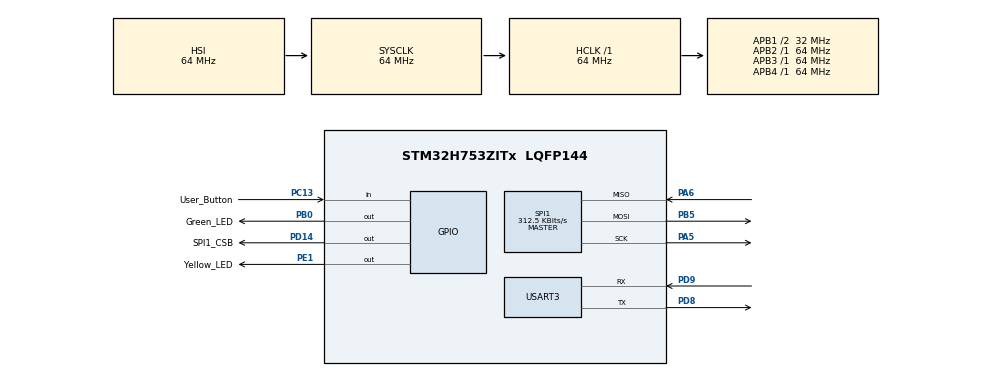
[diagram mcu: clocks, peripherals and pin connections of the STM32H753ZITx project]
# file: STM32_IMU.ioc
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CORTEX_M7.default_mode_Activation=1
Mcu.Family=STM32H7
Mcu.Name=STM32H753ZITx
Mcu.Package=LQFP144
NVIC.PriorityGroup=NVIC_PRIORITYGROUP_4
NVIC.TIM8_UP_TIM13_IRQn=true\:0\:0\:false\:false\:true\:true\:true\:true
PA5.Mode=Full_Duplex_Master
PA5.Signal=SPI1_SCK
PA6.Mode=Full_Duplex_Master
PA6.Signal=SPI1_MISO
PB0.GPIO_Label=Green_LED
PB0.Signal=GPIO_Output
PB5.Mode=Full_Duplex_Master
PB5.Signal=SPI1_MOSI
PC13.GPIO_Label=User_Button
PC13.Signal=GPIO_Input
PD14.GPIO_Label=SPI1_CSB
PD14.Signal=GPIO_Output
PD8.Mode=Asynchronous
PD8.Signal=USART3_TX
PD9.Mode=Asynchronous
PD9.Signal=USART3_RX
PE1.GPIO_Label=Yellow_LED
PE1.Signal=GPIO_Output
ProjectManager.HeapSize=0x200
ProjectManager.StackSize=0x400
ProjectManager.TargetToolchain=STM32CubeIDE
RCC.ADCFreq_Value=129000000
RCC.APB1Freq_Value=32000000
RCC.APB2Freq_Value=64000000
RCC.APB3Freq_Value=64000000
RCC.APB4Freq_Value=64000000
RCC.CortexFreq_Value=64000000
RCC.D2PPRE1=RCC_APB1_DIV2
RCC.DIVM1=4
RCC.DIVN1=10
RCC.HCLKFreq_Value=64000000
RCC.PLLFRACN=0
RCC.SYSCLKFreq_VALUE=64000000
RCC.USBFreq_Value=80000000
SPI1.BaudRatePrescaler=SPI_BAUDRATEPRESCALER_256
SPI1.CalculateBaudRate=312.5 KBits/s
SPI1.DataSize=SPI_DATASIZE_8BIT
SPI1.Direction=SPI_DIRECTION_2LINES
SPI1.Mode=SPI_MODE_MASTER
SPI1.NSSPMode=SPI_NSS_PULSE_DISABLE
SPI1.VirtualType=VM_MASTER
TIM13.Period=64-1
TIM13.Prescaler=6400-1
USART3.VirtualMode-Asynchronous=VM_ASYNC
VP_MEMORYMAP_VS_MEMORYMAP.Mode=CurAppReg
VP_TIM13_VS_ClockSourceINT.Mode=Enable_Timer
board=custom

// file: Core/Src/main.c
/* USER CODE BEGIN Header */
/**
  ******************************************************************************
  * @file           : main.c
  * @brief          : Main program body
  ******************************************************************************
  * @attention
  *h
  * Copyright (c) 2026 STMicroelectronics.
  * All rights reserved.
  *
  * This software is licensed under terms that can be found in the LICENSE file
  * in the root directory of this software component.
  * If no LICENSE file comes with this software, it is provided AS-IS.
  *
  ******************************************************************************
  */f
/* USER CODE END Header */
#include "main.h"

/* USER CODE BEGIN Includes */
#include <string.h>
#include <stdlib.h>
#include <stdio.h>
#include <math.h>
#include <stdbool.h>
#include "bmi3.h"
#include "bmi323.h"
#include "bmi3_defs.h"
#include "bmi323_defs.h"
#include "AccGyrXSim.h"
#include "rtwtypes.h"
#include "MW_target_hardware_resources.h"
/* USER CODE END Includes */

/* USER CODE BEGIN PD */
 float acc_x = 0.0f, acc_y = 0.0f, acc_z = 0.0f;
 float gyr_x = 0.0f, gyr_y = 0.0f, gyr_z = 0.0f;
 float roll = 0.0f, pitch = 0.0f, yaw = 0.0f;
 float ang_x = 0.0f, ang_y = 0.0f, ang_z = 0.0f;
#define _USE_MATH_DEFINES
/* USER CODE END PD */

SPI_HandleTypeDef hspi1;

TIM_HandleTypeDef htim13;

UART_HandleTypeDef huart3;

/* USER CODE BEGIN PV */
typedef struct {
  SPI_HandleTypeDef *hspi;
  GPIO_TypeDef *cs_port;
  uint16_t cs_pin;
} bmi3_stm32_ctx_t;

static bmi3_stm32_ctx_t bmi_ctx;
static struct bmi3_dev dev;
volatile uint8_t tick_100hz = 0;
bool condition = false;
/* USER CODE END PV */

void SystemClock_Config(void);
static void MPU_Config(void);
static void MX_GPIO_Init(void);
static void MX_TIM13_Init(void);
static void MX_USART3_UART_Init(void);
static void MX_SPI1_Init(void);
/* USER CODE BEGIN PFP */
static int8_t bmi3_spi_read(uint8_t reg_addr, uint8_t *data, uint32_t len, void *intf_ptr);
static int8_t bmi3_spi_write(uint8_t reg_addr, const uint8_t *data, uint32_t len, void *intf_ptr);
static int8_t set_accel_gyro_config(struct bmi3_dev *dev);
static float lsb_to_g(int16_t val, float g_range, uint8_t bit_width);
static void bmi3_delay_us(uint32_t period, void *intf_ptr);
/* USER CODE END PFP */

int main(void)
{

  /* MPU Configuration--------------------------------------------------------*/
  MPU_Config();

  /* MCU Configuration--------------------------------------------------------*/

  /* Reset of all peripherals, Initializes the Flash interface and the Systick. */
  HAL_Init();

  /* Configure the system clock */
  SystemClock_Config();

  /* Initialize all configured peripherals */
  MX_GPIO_Init();
  MX_TIM13_Init();
  MX_USART3_UART_Init();
  MX_SPI1_Init();
  AccGyrXSim_initialize();
  /* USER CODE BEGIN 2 */
  HAL_GPIO_WritePin(SPI1_CSB_GPIO_Port, SPI1_CSB_Pin, GPIO_PIN_SET);

  // ------------------------------------------------ ACCEL GYRO TEMP -------------------------------------------------- //

  /* USER CODE END 2 */
  HAL_GPIO_WritePin(SPI1_CSB_GPIO_Port, SPI1_CSB_Pin, GPIO_PIN_SET);
  bmi_ctx.hspi = &hspi1;
  bmi_ctx.cs_port = SPI1_CSB_GPIO_Port;
  bmi_ctx.cs_pin  = SPI1_CSB_Pin;
  memset(&dev, 0, sizeof(dev));
  dev.intf     = BMI3_SPI_INTF;
  dev.intf_ptr = &bmi_ctx;
  dev.read     = bmi3_spi_read;
  dev.write    = bmi3_spi_write;
  dev.delay_us = bmi3_delay_us;
  // ------------------------------------------------ ACCEL GYRO TEMP -------------------------------------------------- //

  /* USER CODE END 2 */
  char msg_agt[256];
  /* Sensor initialization configuration. */

  /* Status of API are returned to this variable. */
  int8_t rsltagt;

  /* Variable to define limit to print accel data. */

  /* Create an instance of sensor data structure. */
  struct bmi3_sensor_data sensor_data[3] = { 0 };

  /* Initialize the interrupt status of accel. */
  uint16_t int_status = 0;

  /* Variable to store temperature */
  float temperature_value;

  /* Select accel and gyro sensor. */
  sensor_data[0].type = BMI323_ACCEL;
  sensor_data[1].type = BMI323_GYRO;
  sensor_data[2].type = BMI323_TEMP;

  // ------------------------------------------------ SELF CALIBRATION -------------------------------------------------- //
  /* Sensor initialization configuration. */

  /* Structure to define the self-calibration result and error result */
  struct bmi3_self_calib_rslt sc_rslt;

  /* Variable to choose apply correction */
  uint8_t apply_corr = BMI3_SC_APPLY_CORR_EN;

  /* Variable to define error. */
  int8_t rsltSC;

  /* Variable to define index. */
  uint8_t idx;

  /* Variable to define limit. */
  uint8_t limit = 3;

  /* Array to define self-calibration modes. */
  uint8_t sc_selection[3] = { BMI3_SC_SENSITIVITY_EN, BMI3_SC_OFFSET_EN, BMI3_SC_SENSITIVITY_EN | BMI3_SC_OFFSET_EN };

  /* Structure instance of gyro dp gain offset */
  struct bmi3_gyr_dp_gain_offset gyr_dp_gain_offset = { 0 };

  // ------------------------------------------------ BEGIN -------------------------------------------------- //
  int8_t rslt = bmi323_init(&dev);
  printf("bmi323_init=%d chip_id=0x%02X\r\n", rslt, dev.chip_id);

	  while (1) {
		  if (HAL_GPIO_ReadPin(User_Button_GPIO_Port, User_Button_Pin) == 0) {
			  HAL_GPIO_WritePin(Yellow_LED_GPIO_Port, Yellow_LED_Pin, GPIO_PIN_SET);
			  HAL_GPIO_WritePin(Green_LED_GPIO_Port, Green_LED_Pin, GPIO_PIN_RESET);
			  condition = false;
		  } else if (HAL_GPIO_ReadPin(User_Button_GPIO_Port, User_Button_Pin) == 1) {
			  condition = true;
			  HAL_GPIO_WritePin(Yellow_LED_GPIO_Port, Yellow_LED_Pin, GPIO_PIN_RESET);
			  HAL_GPIO_WritePin(Green_LED_GPIO_Port, Green_LED_Pin, GPIO_PIN_SET);
			  break;
		  }
		  printf("Error\r\n");

		  //HAL_UART_Transmit(&huart3, (uint8_t*)msg_lagt, lutty, HAL_MAX_DELAY);
		  HAL_Delay(150);
	  }
	  printf("PASS_A\r\n");

  /* Initialize bmi323. */
  rsltagt = bmi323_init(&dev);
  printf("PASS_B\r\n");
  printf("%d\r\n", rsltagt);
  if (rsltagt == BMI323_OK)
  {
      /* Accel and Gyro configuration settings. */
	  rsltagt = set_accel_gyro_config(&dev);
	  printf("PASS_C\r\n");
      if (rsltagt == BMI323_OK)
      {
    	  // BMI SELF CALIBRATION BEGINS
    	      	        for (idx = 0; idx < limit; idx++)
    	      	        {
    	      	            /* Initialize bmi323 */;

    	      	                if (sc_selection[idx] == BMI3_SC_SENSITIVITY_EN)
    	      	                {
    	      	                    printf("\n\nSelf-calibration for sensitivity mode\n");
    	      	                }
    	      	                else if (sc_selection[idx] == BMI3_SC_OFFSET_EN)
    	      	                {
    	      	                    printf("\n\nSelf-calibration for offset mode\n");
    	      	                }
    	      	                else
    	      	                {
    	      	                    printf("\n\nSelf-calibration for sensitivity and offset mode\n");
    	      	                }

    	      	                /* Performs self-calibration for either sensitivity, offset or both */
    	      	                rsltSC = bmi323_perform_gyro_sc(sc_selection[idx], apply_corr, &sc_rslt, &dev);

    	      	                if ((rsltSC == BMI323_OK) && (sc_rslt.gyro_sc_rslt == BMI323_TRUE) &&
    	      	                    ((sc_rslt.sc_error_status & BMI3_SET_LOW_NIBBLE) == BMI3_NO_ERROR_MASK))
    	      	                {
    	      	                    printf("\nSelf calibration is successfully completed \n\n");
    	      	                }

    	      	                if ((rsltSC == BMI323_OK) && (sc_rslt.gyro_sc_rslt == BMI323_FALSE))
    	      	                {
    	      	                    printf("\nSelf calibration is not successfully completed \n\n");

    	      	                    switch (sc_rslt.sc_error_status)
    	      	                    {
    	      	                        case BMI3_SC_ST_ABORTED_MASK:
    	      	                            printf("SC_ST_ABORTED\n\n");
    	      	                            break;
    	      	                        case BMI3_SC_ST_PRECON_ERR_MASK:
    	      	                            printf("BMI323_SC_ST_PRECON_ERR\n\n");
    	      	                            break;
    	      	                        case BMI3_MODE_CHANGE_WHILE_SC_ST_MASK:
    	      	                            printf("BMI323_MODE_CHANGE_WHILE_SC_ST\n\n");
    	      	                            break;
    	      	                        default:
    	      	                            break;
    	      	                    }
    	      	                }

    	      	                rsltSC = bmi323_get_gyro_dp_off_dgain(&gyr_dp_gain_offset, &dev);
    	      	                printf("Result of gyro dp offset x(LSB) is %d\n", gyr_dp_gain_offset.gyr_dp_off_x);
    	      	                printf("Result of gyro dp offset y(LSB) is %d\n", gyr_dp_gain_offset.gyr_dp_off_y);
    	      	                printf("Result of gyro dp offset z(LSB) is %d\n", gyr_dp_gain_offset.gyr_dp_off_z);
    	      	                printf("Result of gyro dp gain x(LSB) is %d\n", gyr_dp_gain_offset.gyr_dp_dgain_x);
    	      	                printf("Result of gyro dp gain y(LSB) is %d\n", gyr_dp_gain_offset.gyr_dp_dgain_y);
    	      	                printf("Result of gyro dp gain z(LSB) is %d\n", gyr_dp_gain_offset.gyr_dp_dgain_z);

    	      	        }

    	      	  // BMI SELF CALIBRATION ENDS
          printf("\nData set, Acc_Raw_X, Acc_Raw_Y, Acc_Raw_Z, Acc_G_X, Acc_G_Y, Acc_G_Z,  Gyr_Raw_X, Gyr_Raw_Y, Gyr_Raw_Z, Gyr_dps_X, Gyr_dps_Y, Gyr_dps_Z, Temperature data (Degree celsius), SensorTime(secs)\r\n");

          while (condition)
              {
                  /* To get the status of accel data ready interrupt. */
            	  rsltagt = bmi323_get_int1_status(&int_status, &dev);
            	  printf("PASS_D\r\n");

                  /* To check the accel data ready interrupt status and print the status for 100 samples. */
                  if ((int_status & BMI3_INT_STATUS_ACC_DRDY) && (int_status & BMI3_INT_STATUS_GYR_DRDY) &&
                      (int_status & BMI3_INT_STATUS_TEMP_DRDY))
                  {
                      /* Get accelerometer data for x, y and z axis. */
                	  rsltagt = bmi323_get_sensor_data(sensor_data, 3, &dev);
                      temperature_value =
                          (float)((((float)((int16_t)sensor_data[2].sens_data.temp.temp_data)) / 512.0) + 23.0);

                        /* Converting lsb to gravity for 16 bit accelerometer at 2G range. */
                        acc_x = lsb_to_g(sensor_data[0].sens_data.acc.x, 4.0f, dev.resolution);
                        acc_y = lsb_to_g(sensor_data[0].sens_data.acc.y, 4.0f, dev.resolution);
                        acc_z = lsb_to_g(sensor_data[0].sens_data.acc.z, 4.0f, dev.resolution);

//                      int putty = snprintf(msg_agt, sizeof(msg_agt),
//                    		  "Ax: %6d, Ay: %6d, Az: %6d, Agx: %8.3f, Agy: %8.3f, Agz: %8.3f, Gx: %8.3d, Gy: %8.3d, Gz: %8.3d, Temp: %6f, Time: %.4lf\r\n",
//                    		                           sensor_data[0].sens_data.acc.x,
//                    		                           sensor_data[0].sens_data.acc.y,
//                    		                           sensor_data[0].sens_data.acc.z,
//													   acc_x, // Real acceleration at 4G range
//													   acc_y, // Real acceleration at 4G range
//													   acc_z, // Real acceleration at 4G range
//													   sensor_data[1].sens_data.gyr.x,
//													   sensor_data[1].sens_data.gyr.y,
//													   sensor_data[1].sens_data.gyr.z,
//                    		                           temperature_value,
//                    		                           (sensor_data[1].sens_data.temp.sens_time * BMI3_SENSORTIME_RESOLUTION));
//
//                      HAL_UART_Transmit(&huart3, (uint8_t*)msg_agt, putty, HAL_MAX_DELAY);

                        	AccGyrXSim_U.AccX = acc_x;
							AccGyrXSim_U.AccY = acc_y;
							AccGyrXSim_U.AccZ = acc_z;

							AccGyrXSim_U.GyrX = sensor_data[1].sens_data.gyr.x;
							AccGyrXSim_U.GyrY = sensor_data[1].sens_data.gyr.y;
							AccGyrXSim_U.GyrZ = sensor_data[1].sens_data.gyr.z;

							AccGyrXSim_step();

							roll = AccGyrXSim_Y.Roll;
							pitch = AccGyrXSim_Y.Pitch;
							yaw = AccGyrXSim_Y.Yaw;

							ang_x = AccGyrXSim_Y.AngX;
							ang_y = AccGyrXSim_Y.AngY;
							ang_z = AccGyrXSim_Y.AngZ;

							printf("Roll: %7.3f, Pitch: %7.3f, Yaw: %7.3f, AngX: %7.3f, AngY: %7.3f, AngZ: %7.3f, Time: %.4lf\r\n",
																		  	  	  	  	  	  	   roll,
																								   pitch,
											                    		                           yaw,
																								   ang_x, // Real acceleration at 4G range
																								   ang_y, // Real acceleration at 4G range
																								   ang_z, // Real acceleration at 4G range
											                    		                           (sensor_data[1].sens_data.temp.sens_time * BMI3_SENSORTIME_RESOLUTION));

		                      int putty = snprintf(msg_agt, sizeof(msg_agt),
		                    		  "Roll: %7.3f, Pitch: %7.3f, Yaw: %7.3f, AngX: %7.3f, AngY: %7.3f, AngZ: %7.3f, Time: %.4lf\r\n",
									  	  	  	  	  	  	   roll,
															   pitch,
		                    		                           yaw,
															   ang_x, // Real acceleration at 4G range
															   ang_y, // Real acceleration at 4G range
															   ang_z, // Real acceleration at 4G range
		                    		                           (sensor_data[1].sens_data.temp.sens_time * BMI3_SENSORTIME_RESOLUTION));

		                      HAL_UART_Transmit(&huart3, (uint8_t*)msg_agt, putty, HAL_MAX_DELAY);
	                  }
	              }
	      }
	  }
}

void SystemClock_Config(void)
{
  RCC_OscInitTypeDef RCC_OscInitStruct = {0};
  RCC_ClkInitTypeDef RCC_ClkInitStruct = {0};

  /** Supply configuration update enable
  */
  HAL_PWREx_ConfigSupply(PWR_LDO_SUPPLY);

  /** Configure the main internal regulator output voltage
  */
  __HAL_PWR_VOLTAGESCALING_CONFIG(PWR_REGULATOR_VOLTAGE_SCALE3);

  while(!__HAL_PWR_GET_FLAG(PWR_FLAG_VOSRDY)) {}

  /** Initializes the RCC Oscillators according to the specified parameters
  * in the RCC_OscInitTypeDef structure.
  */
  RCC_OscInitStruct.OscillatorType = RCC_OSCILLATORTYPE_HSI;
  RCC_OscInitStruct.HSIState = RCC_HSI_DIV1;
  RCC_OscInitStruct.HSICalibrationValue = RCC_HSICALIBRATION_DEFAULT;
  RCC_OscInitStruct.PLL.PLLState = RCC_PLL_ON;
  RCC_OscInitStruct.PLL.PLLSource = RCC_PLLSOURCE_HSI;
  RCC_OscInitStruct.PLL.PLLM = 4;
  RCC_OscInitStruct.PLL.PLLN = 10;
  RCC_OscInitStruct.PLL.PLLP = 2;
  RCC_OscInitStruct.PLL.PLLQ = 2;
  RCC_OscInitStruct.PLL.PLLR = 2;
  RCC_OscInitStruct.PLL.PLLRGE = RCC_PLL1VCIRANGE_3;
  RCC_OscInitStruct.PLL.PLLVCOSEL = RCC_PLL1VCOMEDIUM;
  RCC_OscInitStruct.PLL.PLLFRACN = 0;
  if (HAL_RCC_OscConfig(&RCC_OscInitStruct) != HAL_OK)
  {
    Error_Handler();
  }

  /** Initializes the CPU, AHB and APB buses clocks
  */
  RCC_ClkInitStruct.ClockType = RCC_CLOCKTYPE_HCLK|RCC_CLOCKTYPE_SYSCLK
                              |RCC_CLOCKTYPE_PCLK1|RCC_CLOCKTYPE_PCLK2
                              |RCC_CLOCKTYPE_D3PCLK1|RCC_CLOCKTYPE_D1PCLK1;
  RCC_ClkInitStruct.SYSCLKSource = RCC_SYSCLKSOURCE_HSI;
  RCC_ClkInitStruct.SYSCLKDivider = RCC_SYSCLK_DIV1;
  RCC_ClkInitStruct.AHBCLKDivider = RCC_HCLK_DIV1;
  RCC_ClkInitStruct.APB3CLKDivider = RCC_APB3_DIV1;
  RCC_ClkInitStruct.APB1CLKDivider = RCC_APB1_DIV2;
  RCC_ClkInitStruct.APB2CLKDivider = RCC_APB2_DIV1;
  RCC_ClkInitStruct.APB4CLKDivider = RCC_APB4_DIV1;

  if (HAL_RCC_ClockConfig(&RCC_ClkInitStruct, FLASH_LATENCY_1) != HAL_OK)
  {
    Error_Handler();
  }
}

static void MX_SPI1_Init(void)
{

  /* SPI1 parameter configuration*/
  hspi1.Instance = SPI1;
  hspi1.Init.Mode = SPI_MODE_MASTER;
  hspi1.Init.Direction = SPI_DIRECTION_2LINES;
  hspi1.Init.DataSize = SPI_DATASIZE_8BIT;
  hspi1.Init.CLKPolarity = SPI_POLARITY_LOW;
  hspi1.Init.CLKPhase = SPI_PHASE_1EDGE;
  hspi1.Init.NSS = SPI_NSS_SOFT;
  hspi1.Init.BaudRatePrescaler = SPI_BAUDRATEPRESCALER_256;
  hspi1.Init.FirstBit = SPI_FIRSTBIT_MSB;
  hspi1.Init.TIMode = SPI_TIMODE_DISABLE;
  hspi1.Init.CRCCalculation = SPI_CRCCALCULATION_DISABLE;
  hspi1.Init.CRCPolynomial = 0x0;
  hspi1.Init.NSSPMode = SPI_NSS_PULSE_DISABLE;
  hspi1.Init.NSSPolarity = SPI_NSS_POLARITY_LOW;
  hspi1.Init.FifoThreshold = SPI_FIFO_THRESHOLD_01DATA;
  hspi1.Init.TxCRCInitializationPattern = SPI_CRC_INITIALIZATION_ALL_ZERO_PATTERN;
  hspi1.Init.RxCRCInitializationPattern = SPI_CRC_INITIALIZATION_ALL_ZERO_PATTERN;
  hspi1.Init.MasterSSIdleness = SPI_MASTER_SS_IDLENESS_00CYCLE;
  hspi1.Init.MasterInterDataIdleness = SPI_MASTER_INTERDATA_IDLENESS_00CYCLE;
  hspi1.Init.MasterReceiverAutoSusp = SPI_MASTER_RX_AUTOSUSP_DISABLE;
  hspi1.Init.MasterKeepIOState = SPI_MASTER_KEEP_IO_STATE_DISABLE;
  hspi1.Init.IOSwap = SPI_IO_SWAP_DISABLE;
  if (HAL_SPI_Init(&hspi1) != HAL_OK)
  {
    Error_Handler();
  }

}

static void MX_TIM13_Init(void)
{

  htim13.Instance = TIM13;
  htim13.Init.Prescaler = 6400-1;
  htim13.Init.CounterMode = TIM_COUNTERMODE_UP;
  htim13.Init.Period = 64-1;
  htim13.Init.ClockDivision = TIM_CLOCKDIVISION_DIV1;
  htim13.Init.AutoReloadPreload = TIM_AUTORELOAD_PRELOAD_DISABLE;
  if (HAL_TIM_Base_Init(&htim13) != HAL_OK)
  {
    Error_Handler();
  }

}

static void MX_USART3_UART_Init(void)
{

  huart3.Instance = USART3;
  huart3.Init.BaudRate = 115200;
  huart3.Init.WordLength = UART_WORDLENGTH_8B;
  huart3.Init.StopBits = UART_STOPBITS_1;
  huart3.Init.Parity = UART_PARITY_NONE;
  huart3.Init.Mode = UART_MODE_TX_RX;
  huart3.Init.HwFlowCtl = UART_HWCONTROL_NONE;
  huart3.Init.OverSampling = UART_OVERSAMPLING_16;
  huart3.Init.OneBitSampling = UART_ONE_BIT_SAMPLE_DISABLE;
  huart3.Init.ClockPrescaler = UART_PRESCALER_DIV1;
  huart3.AdvancedInit.AdvFeatureInit = UART_ADVFEATURE_NO_INIT;
  if (HAL_UART_Init(&huart3) != HAL_OK)
  {
    Error_Handler();
  }
  if (HAL_UARTEx_SetTxFifoThreshold(&huart3, UART_TXFIFO_THRESHOLD_1_8) != HAL_OK)
  {
    Error_Handler();
  }
  if (HAL_UARTEx_SetRxFifoThreshold(&huart3, UART_RXFIFO_THRESHOLD_1_8) != HAL_OK)
  {
    Error_Handler();
  }
  if (HAL_UARTEx_DisableFifoMode(&huart3) != HAL_OK)
  {
    Error_Handler();
  }

}

static void MX_GPIO_Init(void)
{
  GPIO_InitTypeDef GPIO_InitStruct = {0};

  /* GPIO Ports Clock Enable */
  __HAL_RCC_GPIOC_CLK_ENABLE();
  __HAL_RCC_GPIOA_CLK_ENABLE();
  __HAL_RCC_GPIOB_CLK_ENABLE();
  __HAL_RCC_GPIOD_CLK_ENABLE();
  __HAL_RCC_GPIOE_CLK_ENABLE();

  /*Configure GPIO pin Output Level */
  HAL_GPIO_WritePin(Green_LED_GPIO_Port, Green_LED_Pin, GPIO_PIN_RESET);

  /*Configure GPIO pin Output Level */
  HAL_GPIO_WritePin(SPI1_CSB_GPIO_Port, SPI1_CSB_Pin, GPIO_PIN_RESET);

  /*Configure GPIO pin Output Level */
  HAL_GPIO_WritePin(Yellow_LED_GPIO_Port, Yellow_LED_Pin, GPIO_PIN_RESET);

  /*Configure GPIO pin : User_Button_Pin */
  GPIO_InitStruct.Pin = User_Button_Pin;
  GPIO_InitStruct.Mode = GPIO_MODE_INPUT;
  GPIO_InitStruct.Pull = GPIO_NOPULL;
  HAL_GPIO_Init(User_Button_GPIO_Port, &GPIO_InitStruct);

  /*Configure GPIO pin : Green_LED_Pin */
  GPIO_InitStruct.Pin = Green_LED_Pin;
  GPIO_InitStruct.Mode = GPIO_MODE_OUTPUT_PP;
  GPIO_InitStruct.Pull = GPIO_NOPULL;
  GPIO_InitStruct.Speed = GPIO_SPEED_FREQ_LOW;
  HAL_GPIO_Init(Green_LED_GPIO_Port, &GPIO_InitStruct);

  /*Configure GPIO pin : SPI1_CSB_Pin */
  GPIO_InitStruct.Pin = SPI1_CSB_Pin;
  GPIO_InitStruct.Mode = GPIO_MODE_OUTPUT_PP;
  GPIO_InitStruct.Pull = GPIO_NOPULL;
  GPIO_InitStruct.Speed = GPIO_SPEED_FREQ_LOW;
  HAL_GPIO_Init(SPI1_CSB_GPIO_Port, &GPIO_InitStruct);

  /*Configure GPIO pin : Yellow_LED_Pin */
  GPIO_InitStruct.Pin = Yellow_LED_Pin;
  GPIO_InitStruct.Mode = GPIO_MODE_OUTPUT_PP;
  GPIO_InitStruct.Pull = GPIO_NOPULL;
  GPIO_InitStruct.Speed = GPIO_SPEED_FREQ_LOW;
  HAL_GPIO_Init(Yellow_LED_GPIO_Port, &GPIO_InitStruct);

}

/* USER CODE BEGIN 4 */

/*! @brief Converts raw sensor values(LSB) to G value
 *
 *  @param[in] val        : Raw sensor value.
 *  @param[in] g_range    : Accel Range selected (4G).
 *  @param[in] bit_width  : Resolution of the sensor.
 *
 *  @return Accel values in Gravity(G)
 *
 */
static float lsb_to_g(int16_t val, float g_range, uint8_t bit_width)
{
    double power = 2;

    float half_scale = (float)((pow((double)power, (double)bit_width) / 2.0f));

    return (val * g_range * (9.80665f)) / half_scale;
}

static int8_t set_accel_gyro_config(struct bmi3_dev *dev)
{
    /* Status of API are returned to this variable. */
    int8_t rslt;

    /* Structure to define accelerometer configuration. */
    struct bmi3_sens_config config[2];

    /* Structure to map interrupt */
    struct bmi3_map_int map_int = { 0 };

    /* Configure the type of feature. */
    config[0].type = BMI323_ACCEL;
    config[1].type = BMI323_GYRO;

    /* Get default configurations for the type of feature selected. */
    rslt = bmi323_get_sensor_config(config, 2, dev);
    //bmi3_error_codes_print_result("bmi323_get_sensor_config", rslt);

    if (rslt == BMI323_OK)
    {
        map_int.acc_drdy_int = BMI3_INT1;
        map_int.gyr_drdy_int = BMI3_INT1;
        map_int.temp_drdy_int = BMI3_INT1;

        /* Map data ready interrupt to interrupt pin. */
        rslt = bmi323_map_interrupt(map_int, dev);
        //bmi3_error_codes_print_result("bmi323_map_interrupt", rslt);

        if (rslt == BMI323_OK)
        {
            /* NOTE: The user can change the following configuration parameters according to their requirement. */
            /* Output Data Rate. By default ODR is set as 100Hz for accel. */
            config[0].cfg.acc.odr = BMI3_ACC_ODR_100HZ;

            /* Gravity range of the sensor (+/- 2G, 4G, 8G, 16G). */
            config[0].cfg.acc.range = BMI3_ACC_RANGE_4G;

            /* The Accel bandwidth coefficient defines the 3 dB cutoff frequency in relation to the ODR. */
            config[0].cfg.acc.bwp = BMI3_ACC_BW_ODR_HALF;

            /* Set number of average samples for accel. */
            config[0].cfg.acc.avg_num = BMI3_ACC_AVG64;

            /* Enable the accel mode where averaging of samples
             * will be done based on above set bandwidth and ODR.
             * Note : By default accel is disabled. The accel will get enable by selecting the mode.
             */
            config[0].cfg.acc.acc_mode = BMI3_ACC_MODE_NORMAL;

            /* Output Data Rate. By default ODR is set as 100Hz for gyro. */
            config[1].cfg.gyr.odr = BMI3_GYR_ODR_100HZ;

            /* Gyroscope Angular Rate Measurement Range. By default the range is 2000dps. */
            config[1].cfg.gyr.range = BMI3_GYR_RANGE_2000DPS;

            /*  The Gyroscope bandwidth coefficient defines the 3 dB cutoff frequency in relation to the ODR
             *  Value   Name      Description
             *    0   odr_half   BW = gyr_odr/2
             *    1  odr_quarter BW = gyr_odr/4
             */
            config[1].cfg.gyr.bwp = BMI3_GYR_BW_ODR_HALF;

            /* By default the gyro is disabled. Gyro is enabled by selecting the mode. */
            config[1].cfg.gyr.gyr_mode = BMI3_GYR_MODE_NORMAL;

            /* Value    Name    Description
             *  0b000     avg_1   No averaging; pass sample without filtering
             *  0b001     avg_2   Averaging of 2 samples
             *  0b010     avg_4   Averaging of 4 samples
             *  0b011     avg_8   Averaging of 8 samples
             *  0b100     avg_16  Averaging of 16 samples
             *  0b101     avg_32  Averaging of 32 samples
             *  0b110     avg_64  Averaging of 64 samples
             */
            config[1].cfg.gyr.avg_num = BMI3_GYR_AVG64;

            /* Set the accel and gyro configurations. */
            rslt = bmi323_set_sensor_config(config, 2, dev);
            // bmi3_error_codes_print_result("bmi323_set_sensor_config", rslt);
        }
    }

    return rslt;
}

static int8_t bmi3_spi_read(uint8_t reg_addr, uint8_t *data, uint32_t len, void *intf_ptr)
{
    bmi3_stm32_ctx_t *ctx = (bmi3_stm32_ctx_t *)intf_ptr;
    uint8_t addr = reg_addr | 0x80; // BMI3 SPI read mask

    if ((ctx == NULL) || (ctx->hspi == NULL) || (data == NULL) || (len == 0)) {
        return BMI3_E_NULL_PTR; // if defined; otherwise return BMI3_E_COM_FAIL
    }

    HAL_GPIO_WritePin(ctx->cs_port, ctx->cs_pin, GPIO_PIN_RESET);

    // Send register address
    HAL_SPI_Transmit(ctx->hspi, &addr, 1, HAL_MAX_DELAY);

    HAL_SPI_Receive(ctx->hspi, data, (uint16_t)len, HAL_MAX_DELAY);

    HAL_GPIO_WritePin(ctx->cs_port, ctx->cs_pin, GPIO_PIN_SET);
    return BMI3_OK;
}

static int8_t bmi3_spi_write(uint8_t reg_addr, const uint8_t *data, uint32_t len, void *intf_ptr)
{
    bmi3_stm32_ctx_t *ctx = (bmi3_stm32_ctx_t *)intf_ptr;
    uint8_t addr = reg_addr & 0x7F; // write => clear read bit

    if ((ctx == NULL) || (ctx->hspi == NULL) || ((data == NULL) && (len > 0))) {
        return BMI3_E_NULL_PTR; // if defined; otherwise BMI3_E_COM_FAIL
    }

    HAL_GPIO_WritePin(ctx->cs_port, ctx->cs_pin, GPIO_PIN_RESET);

    // Send register address
    HAL_SPI_Transmit(ctx->hspi, &addr, 1, HAL_MAX_DELAY);

    // Send payload (if any)
    if (len > 0) {
        HAL_SPI_Transmit(ctx->hspi, (uint8_t*)data, (uint16_t)len, HAL_MAX_DELAY);
    }

    HAL_GPIO_WritePin(ctx->cs_port, ctx->cs_pin, GPIO_PIN_SET);
    return BMI3_OK;
}

static void bmi3_delay_us(uint32_t period, void *intf_ptr)
{
    (void)intf_ptr;

    // crude but fine for init: convert us->ms with ceiling
    if (period == 0) return;
    HAL_Delay((period + 999) / 1000);
}

int _write(int file, char *ptr, int len)
{
  (void)file;
  int DataIdx;

  for (DataIdx = 0; DataIdx < len; DataIdx++)
  {
//    __io_putchar(*ptr++);
	  ITM_SendChar(*ptr++);
  }
  return len;
}
/* USER CODE END 4 */

 /* MPU Configuration */

void MPU_Config(void)
{
  MPU_Region_InitTypeDef MPU_InitStruct = {0};

  /* Disables the MPU */
  HAL_MPU_Disable();

  /** Initializes and configures the Region and the memory to be protected
  */
  MPU_InitStruct.Enable = MPU_REGION_ENABLE;
  MPU_InitStruct.Number = MPU_REGION_NUMBER0;
  MPU_InitStruct.BaseAddress = 0x0;
  MPU_InitStruct.Size = MPU_REGION_SIZE_4GB;
  MPU_InitStruct.SubRegionDisable = 0x87;
  MPU_InitStruct.TypeExtField = MPU_TEX_LEVEL0;
  MPU_InitStruct.AccessPermission = MPU_REGION_NO_ACCESS;
  MPU_InitStruct.DisableExec = MPU_INSTRUCTION_ACCESS_DISABLE;
  MPU_InitStruct.IsShareable = MPU_ACCESS_SHAREABLE;
  MPU_InitStruct.IsCacheable = MPU_ACCESS_NOT_CACHEABLE;
  MPU_InitStruct.IsBufferable = MPU_ACCESS_NOT_BUFFERABLE;

  HAL_MPU_ConfigRegion(&MPU_InitStruct);
  /* Enables the MPU */
  HAL_MPU_Enable(MPU_PRIVILEGED_DEFAULT);

}

void Error_Handler(void)
{
  __disable_irq();
  while (1)
  {
  }
}
